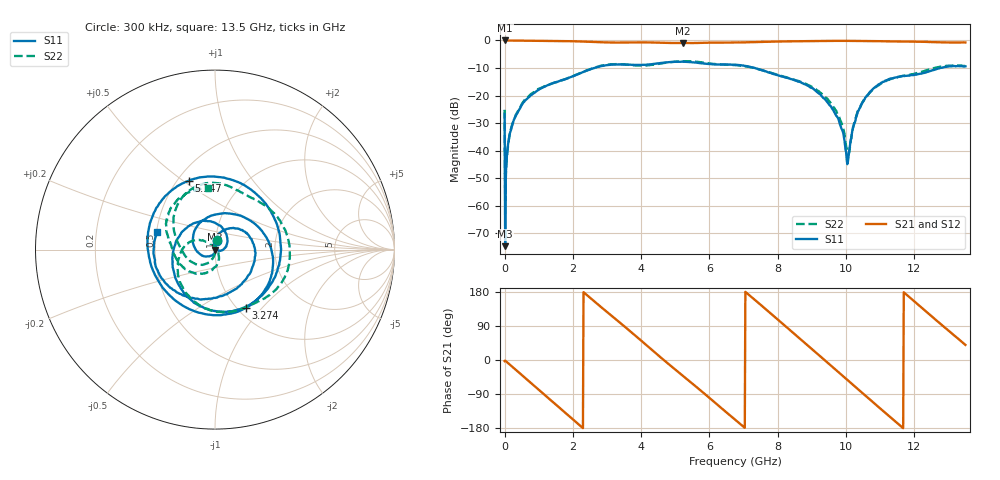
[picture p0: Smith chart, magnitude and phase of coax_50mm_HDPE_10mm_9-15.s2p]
!Agilent Technologies,N5230C,MY48100320,A.08.04.10
!Agilent N5230C: A.08.04.10
!Date: Thursday, September 15, 2016 22:09:13
!Correction: S11(Full 2 Port(1,2))
!S21(Full 2 Port(1,2))
!S12(Full 2 Port(1,2))
!S22(Full 2 Port(1,2))
!S2P File: Measurements: S11, S21, S12, S22:
# Hz S  dB  R 50
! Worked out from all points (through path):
!   801 points, 300 kHz to 13.5 GHz, reference 50 ohm
!   highest |S21| = 0.00 dB at 17.17 MHz (marker M1); lowest = -1.0 dB at 5.215 GHz (marker M2)
!   group delay of S21, straight-line fit = 213 ps
!   lowest |S11| = -74.7 dB at 17.17 MHz (marker M3), VSWR 1.00, Z = 50 - j0.0112 ohm
!   |S11| at or under -10 dB: start of sweep to 2.628 GHz; 7.332 GHz to 12.77 GHz (5.434 GHz wide, 54.1 % of centre)
!   |S22| runs from -58.3 to -7.5 dB; largest |S21 - S12| = 0.0044
!   S11 on the Smith chart (normalised r, x): 300 kHz: 1.01, +0.09; 3.274 GHz: 1.10, -0.82; 5.147 GHz: 0.57, +0.53; 13.5 GHz: 0.50, +0.11
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300000  -26.68 78.6  -0.07 -2.9  -0.07 -2.9  -25.18 77.2
1.717462e7  -74.67 -142.8  -0.00 -1.5  -0.00 -1.5  -58.33 44.4
8.467312e7  -39.67 -85.1  -0.03 -6.8  -0.03 -6.8  -39.97 -83.7
2.027955e8  -31.68 -106.6  -0.04 -16.1  -0.04 -16.1  -31.32 -91.1
4.896641e8  -23.65 -143.8  -0.07 -38.6  -0.07 -38.6  -23.55 -112.1
1.147774e9  -16.92 148.9  -0.16 -90.1  -0.16 -90.1  -16.76 -151.0
2.2615e9  -11.66 35.2  -0.39 -177.1  -0.39 -177.1  -11.63 151.7
3.273977e9  -8.71 -61.8  -0.77 106.3  -0.75 106.3  -8.56 94.9
4.505825e9  -8.30 165.8  -0.80 12.0  -0.79 12.0  -8.50 38.8
5.147061e9  -7.72 110.7  -0.96 -36.2  -0.95 -36.2  -7.60 -1.7
5.214559e9  -7.73 105.0  -0.97 -41.1  -0.96 -41.2  -7.56 -6.1
5.973917e9  -8.54 28.6  -0.81 -98.0  -0.82 -98.0  -8.29 -45.5
6.75015e9  -8.80 -58.5  -0.72 -157.3  -0.75 -157.3  -8.97 -76.9
8.015747e9  -12.68 -178.1  -0.38 105.8  -0.40 105.8  -12.57 -151.8
9.01135e9  -17.28 78.5  -0.23 28.2  -0.23 28.2  -16.92 161.3
9.686335e9  -26.71 0.0  -0.15 -24.6  -0.16 -24.6  -25.13 132.9
1.005758e10  -43.99 45.6  -0.15 -53.7  -0.15 -53.8  -41.28 46.5
1.049632e10  -22.27 80.5  -0.18 -88.3  -0.18 -88.3  -22.23 -79.7
1.125567e10  -14.17 28.3  -0.33 -147.3  -0.32 -147.4  -14.26 -143.8
1.186316e10  -12.74 -26.7  -0.41 165.7  -0.40 165.6  -12.50 178.9
1.252127e10  -10.88 -104.5  -0.58 114.5  -0.58 114.4  -10.18 152.2
1.35e10  -9.40 163.0  -0.73 39.8  -0.75 39.7  -9.24 96.1
